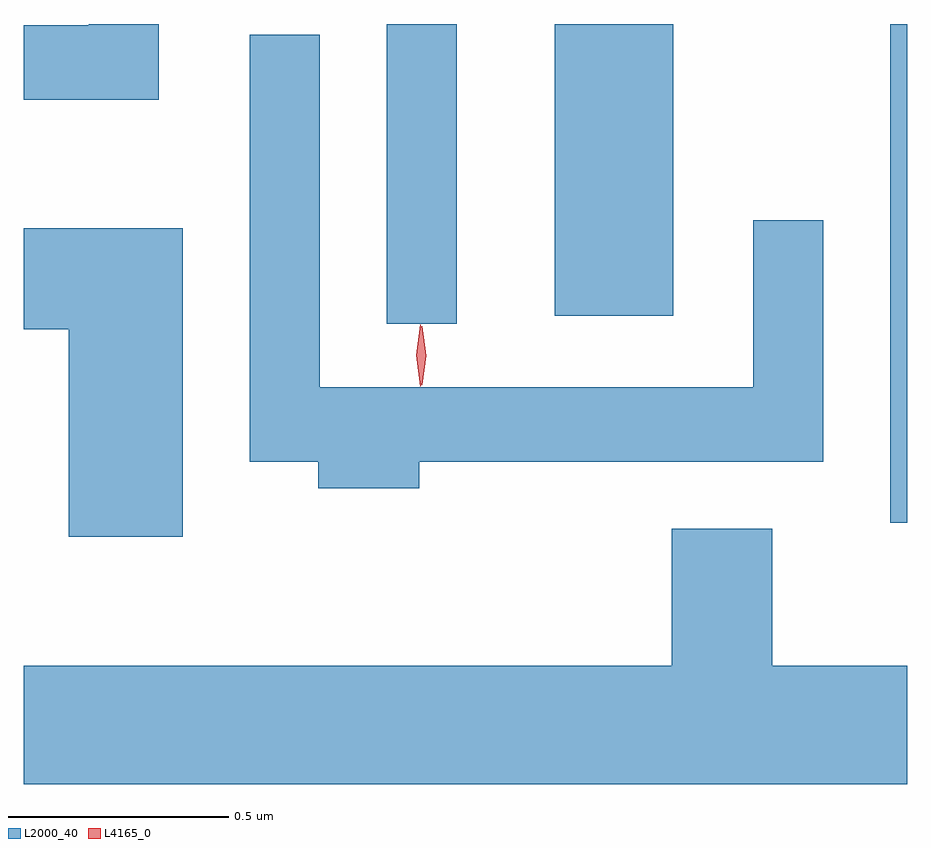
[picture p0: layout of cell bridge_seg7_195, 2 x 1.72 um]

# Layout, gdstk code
import gdstk
lib = gdstk.Library(unit=1e-6, precision=1e-09)
def R(c, l, rs):  # rectangles x0, y0, x1, y1
    for r in rs: c.add(gdstk.rectangle(r[:2], r[2:], *l))
def P(c, l, *ps):  # polygons
    for p in ps: c.add(gdstk.Polygon(p, *l))
L2000_40 = (2000, 40)
L4165_0 = (4165, 0)

bridge_seg7_195 = lib.new_cell('bridge_seg7_195')
R(bridge_seg7_195, L2000_40, [(1506.576,1703.808,1506.614,1704.937), (1505.436,1704.258,1505.594,1704.937), (1505.816,1704.276,1506.084,1704.937)])
P(bridge_seg7_195, L2000_40, [(1504.919,1704.937),(1504.761,1704.937),(1504.761,1704.934),(1504.614,1704.934),(1504.614,1704.766),(1504.919,1704.766)],
  [(1505.509,1703.946),(1506.424,1703.946),(1506.424,1704.493),(1506.266,1704.493),(1506.266,1704.114),(1505.284,1704.114),(1505.284,1704.913),(1505.126,1704.913),(1505.126,1703.946),(1505.281,1703.946),(1505.281,1703.886),(1505.509,1703.886)],
  [(1504.974,1704.474),(1504.614,1704.474),(1504.614,1704.246),(1504.716,1704.246),(1504.716,1703.776),(1504.974,1703.776)],
  [(1506.614,1703.484),(1506.309,1703.484),(1506.309,1703.794),(1506.081,1703.794),(1506.081,1703.484),(1504.614,1703.484),(1504.614,1703.216),(1506.614,1703.216)])
P(bridge_seg7_195, L4165_0, [(1505.515,1704.119),(1505.515,1704.12),(1505.505,1704.186),(1505.515,1704.252),(1505.515,1704.253),(1505.516,1704.252),(1505.525,1704.186),(1505.516,1704.12)],
  [(1505.512,1704.117),(1505.503,1704.187),(1505.512,1704.256),(1505.513,1704.256),(1505.513,1704.256),(1505.523,1704.187),(1505.513,1704.117),(1505.513,1704.117)])

lib.write_gds('bridge_seg7_195.gds')
